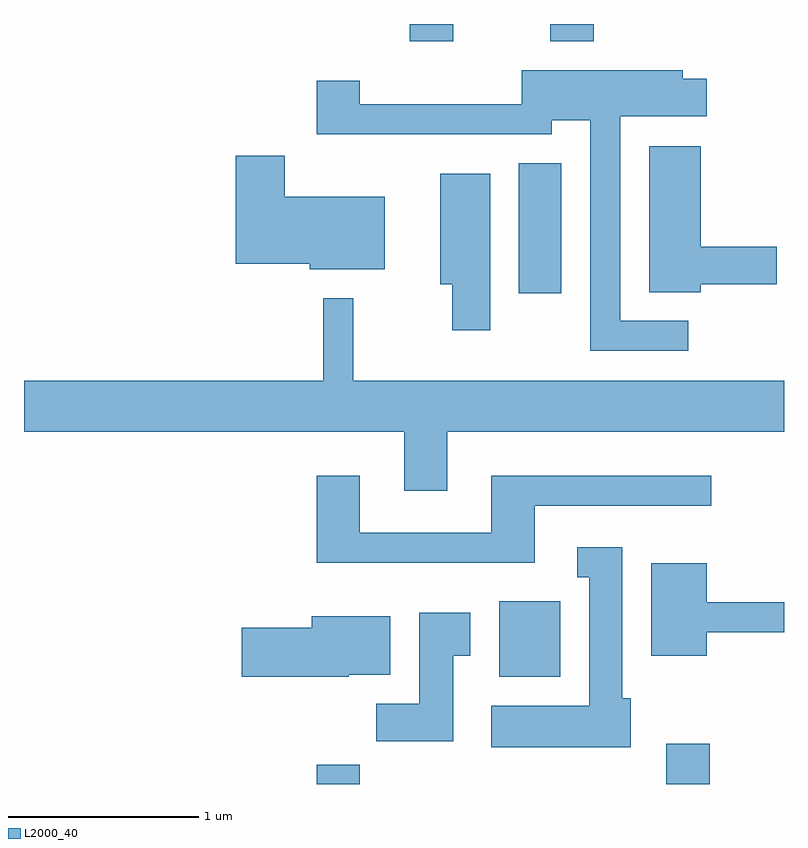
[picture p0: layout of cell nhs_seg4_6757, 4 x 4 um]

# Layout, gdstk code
import gdstk
lib = gdstk.Library(unit=1e-6, precision=1e-09)
def R(c, l, rs):  # rectangles x0, y0, x1, y1
    for r in rs: c.add(gdstk.rectangle(r[:2], r[2:], *l))
def P(c, l, *ps):  # polygons
    for p in ps: c.add(gdstk.Polygon(p, *l))
L2000_40 = (2000, 40)

nhs_seg4_6757 = lib.new_cell('nhs_seg4_6757')
R(nhs_seg4_6757, L2000_40, [(385.151,1303.982,385.379,1304.084), (386.991,1303.982,387.219,1304.194), (386.111,1304.546,386.434,1304.944), (386.216,1306.566,386.439,1307.249), (385.641,1307.891,385.869,1307.982), (386.381,1307.891,386.609,1307.982)])
P(nhs_seg4_6757, L2000_40, [(387.108,1306.419),(386.749,1306.419),(386.749,1307.496),(387.204,1307.496),(387.204,1307.694),(387.079,1307.694),(387.079,1307.739),(386.231,1307.739),(386.231,1307.559),(385.379,1307.559),(385.379,1307.684),(385.151,1307.684),(385.151,1307.401),(386.389,1307.401),(386.389,1307.476),(386.591,1307.476),(386.591,1306.261),(387.108,1306.261)],
  [(387.174,1306.611),(387.574,1306.611),(387.574,1306.809),(387.174,1306.809),(387.174,1307.339),(386.901,1307.339),(386.901,1306.571),(387.174,1306.571)],
  [(385.509,1307.074),(384.984,1307.074),(384.984,1307.289),(384.726,1307.289),(384.726,1306.721),(385.116,1306.721),(385.116,1306.691),(385.509,1306.691)],
  [(386.064,1307.194),(385.801,1307.194),(385.801,1306.611),(385.866,1306.611),(385.866,1306.371),(386.064,1306.371)],
  [(385.839,1305.836),(387.611,1305.836),(387.611,1306.104),(385.344,1306.104),(385.344,1306.538),(385.186,1306.538),(385.186,1306.104),(383.611,1306.104),(383.611,1305.836),(385.611,1305.836),(385.611,1305.526),(385.839,1305.526)],
  [(386.299,1305.446),(387.228,1305.446),(387.228,1305.604),(386.071,1305.604),(386.071,1305.304),(385.379,1305.304),(385.379,1305.604),(385.151,1305.604),(385.151,1305.146),(386.299,1305.146)],
  [(386.804,1304.434),(386.759,1304.434),(386.759,1305.229),(386.523,1305.229),(386.523,1305.071),(386.586,1305.071),(386.586,1304.394),(386.071,1304.394),(386.071,1304.176),(386.804,1304.176)],
  [(387.204,1304.781),(387.611,1304.781),(387.611,1304.939),(387.204,1304.939),(387.204,1305.144),(386.911,1305.144),(386.911,1304.656),(387.204,1304.656)],
  [(385.869,1304.656),(385.959,1304.656),(385.959,1304.884),(385.691,1304.884),(385.691,1304.404),(385.466,1304.404),(385.466,1304.206),(385.869,1304.206)],
  [(385.32,1304.556),(385.539,1304.556),(385.539,1304.864),(385.126,1304.864),(385.126,1304.804),(384.756,1304.804),(384.756,1304.546),(385.32,1304.546)])

lib.write_gds('nhs_seg4_6757.gds')
